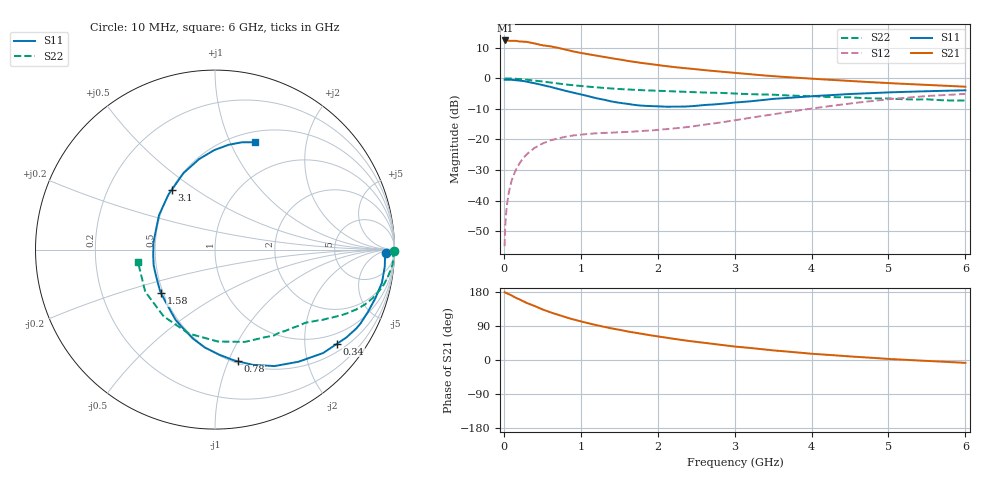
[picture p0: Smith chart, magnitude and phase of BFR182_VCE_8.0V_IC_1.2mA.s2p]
! (c) 2015  Infineon Technologies AG, Munich
! Infineon Technologies  Discrete & RF Semiconductors
! BFR182
! VCE =  8.0 V,  IC =  1.2 mA
! Common Emitter S-Parameters:  Nov 2015
# GHz  S  MA  R  50
!  f  S11  S21  S12  S22
! GHz  MAG  ANG  MAG  ANG  MAG  ANG  MAG  ANG
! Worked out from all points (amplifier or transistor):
!   210 points, 10 MHz to 6 GHz, reference 50 ohm
!   highest |S21| = 12.4 dB at 20 MHz (marker M1)
!   |S21| within 3 dB of that: start of sweep to 808.7 MHz
!   unconditionally stable (mu >= 1): 1.717 GHz to 3.295 GHz
!   at 185 MHz: K = 0.13, MSG = 20.4 dB, |S12| = -28.6 dB
!   at 1.52 GHz: K = 0.91, MSG = 11.9 dB, |S12| = -17.6 dB
!   at 6 GHz: K = 0.92, MSG = 1.2 dB, |S12| = -5.1 dB
!   S11 on the Smith chart (normalised r, x): 10 MHz: 34, -17; 340 MHz: 0.70, -2.78; 780 MHz: 0.52, -1.08; 1.58 GHz: 0.49, -0.28; 3.1 GHz: 0.50, +0.40; 6 GHz: 0.61, +1.24
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0.01  0.9539 -1.3  4.098 179.2  0.0018 83.4  0.9971 -0.4
0.02  0.9483 -2.2  4.164 177.8  0.0042 85.1  0.9891 -0.9
0.03  0.9486 -3.4  4.151 176.9  0.0063 86.5  0.9911 -1.4
0.05  0.9505 -5.7  4.129 175.1  0.0104 87.6  0.9953 -2.3
0.105  0.9464 -11.8  4.091 169.9  0.0219 82.6  0.992 -4.8
0.15  0.9336 -16.9  4.115 164.6  0.0305 79.2  0.9833 -7.0
0.3  0.8805 -33.8  3.945 150.3  0.0575 69.9  0.9488 -13.4
0.34  0.8588 -37.6  3.847 147.3  0.0637 67.4  0.9372 -14.8
0.5  0.779 -53.3  3.476 133.6  0.0854 59.7  0.8885 -20.2
0.6  0.7289 -62.9  3.346 126.2  0.0965 55.3  0.8555 -22.9
0.7  0.6755 -71.9  3.165 119.3  0.1038 51.7  0.8233 -25.3
0.78  0.6343 -78.6  3.003 114.2  0.1093 49.3  0.8003 -26.9
0.9  0.5874 -87.4  2.757 107.2  0.1164 46.4  0.7711 -28.9
1.02  0.5402 -97.4  2.578 100.9  0.1208 44.2  0.7458 -30.8
1.3  0.4484 -119.4  2.235 87.7  0.1282 41.6  0.6967 -34.5
1.58  0.3862 -141.1  1.956 76.4  0.1324 42.0  0.6601 -37.7
2.02  0.346 -174.3  1.639 61.6  0.144 45.9  0.6259 -43.1
2.4  0.348 160.0  1.451 50.4  0.1604 50.9  0.6009 -48.8
3.1  0.4103 126.2  1.196 33.8  0.2156 55.9  0.5572 -62.1
4.1  0.5191 98.0  0.97 15.2  0.3333 51.9  0.5036 -91.8
5.1  0.5941 81.1  0.824 1.8  0.4661 39.0  0.461 -131.6
6  0.6374 69.8  0.73 -7.5  0.5575 23.4  0.4345 -170.6
